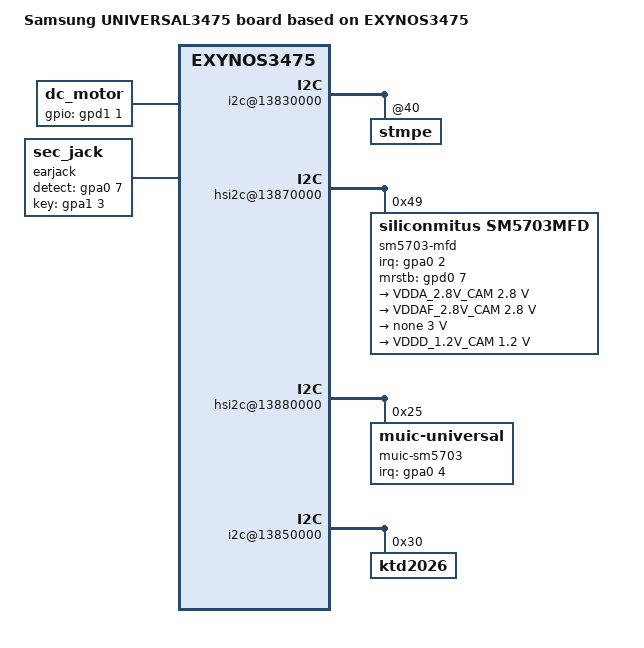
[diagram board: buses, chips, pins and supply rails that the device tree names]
/*
 * SAMSUNG EXYNOS3475 board device tree source
 *
 * Copyright (c) 2013 Samsung Electronics Co., Ltd.
 *		http://www.samsung.com
 *
 * This program is free software; you can redistribute it and/or modify
 * it under the terms of the GNU General Public License version 2 as
 * published by the Free Software Foundation.
*/

/dts-v1/;
#include "exynos3475-novel_common.dtsi"
#include "exynos3475-novellte_battery_03.dtsi"
#include "modem-ss308ap-pdata.dtsi"
#include "exynos3475-novellte_kor-tdmb_01.dtsi"
#include "exynos3475-novellte_kor_open_gpio_01.dtsi"

/ {
	model = "Samsung UNIVERSAL3475 board based on EXYNOS3475";
	model_info-chip = <3475>;
	model_info-platform = "android";
	model_info-subtype = "samsung";
	model_info-hw_rev = <3>;
	model_info-hw_rev_end = <3>;
	compatible = "samsung,UNIVERSAL3475", "samsung,exynos3475";

	i2c@13830000 {
		stmpe@40 {
			stmpe,block_type = <3>;		// STMPE1801_BLOCK_GPIO : 1 / STMPE1801_BLOCK_KEY : 2
		};
	};

	hsi2c@13870000 {
		status = "okay";
		sm5703-mfd@49 {
			compatible = "siliconmitus,sm5703mfd";
			reg = <0x49>;
			pinctrl-names = "default";
			pinctrl-0 = <&chg_en &if_pmic_irq>;
			sm5703,irq-gpio = <&gpa0 2 0>;
			sm5703,mrstb-gpio = <&gpd0 7 0>;

			sm5703_ldo1 {
				compatible = "siliconmitus,sm5703-ldo1";
				regulator-name = "VDDA_2.8V_CAM";  /* change name by yourself */
				regulator-min-microvolt = <2800000>;
				regulator-max-microvolt = <2800000>; /* max == min then apply_uV = 1 */
				/* regulator-microvolt-offset = < >; optional*/
				/* regulator-boot-on;*/ /* = "yes"; optional, exist = enabled */
				/* regulator-always-on;*/ /* = "yes"; optional, exist = enabled */
				/* regulator-ramp-delay = <100>; optional*/
			};

			sm5703_ldo2 {
				compatible = "siliconmitus,sm5703-ldo2";
				regulator-name = "VDDAF_2.8V_CAM"; /* change name by yourself */
				regulator-min-microvolt = <2800000>;
				regulator-max-microvolt = <2800000>; /* max == min then apply_uV = 1 */
				/* regulator-microvolt-offset = < >; optional*/
				/*regulator-boot-on;*/  /* = "yes"; optional, exist = enabled */
				/*regulator-always-on;*/  /* = "yes"; optional, exist = enabled */
				/* regulator-ramp-delay = <100>; optional*/
			};

			sm5703_ldo3 {
				compatible = "siliconmitus,sm5703-ldo3";
				regulator-name = "none"; /* change name by yourself */
				regulator-min-microvolt = <3000000>;
				regulator-max-microvolt = <3000000>; /* max == min then apply_uV = 1 */
				/* regulator-microvolt-offset = < >; optional*/
				/* regulator-boot-on =*/  /* "yes"; optional, exist = enabled */
				/* regulator-always-on = */  /*"yes"; optional, exist = enabled */
				/* regulator-ramp-delay = <100>; optional*/
			};

			sm5703_buck {
				compatible = "siliconmitus,sm5703-buck";
				regulator-name = "VDDD_1.2V_CAM"; /* change name by yourself */
				regulator-min-microvolt = <1200000>;
				regulator-max-microvolt = <1200000>; /* max == min then apply_uV = 1 */
				/* regulator-microvolt-offset = < >; optional*/
				/* regulator-boot-on = "yes"; optional, exist = enabled */
				/* regulator-always-on = "yes"; optional, exist = enabled */
				/* regulator-ramp-delay = <100>; optional*/
			};
		};
	};

	hsi2c@13880000 {
		status = "okay";
		muic-sm5703@25 {
			status = "okay";
			compatible = "muic-universal";
			reg = <0x25>;
			pinctrl-names = "default";
			muic-universal,chip_name = "sm,sm5703";
			muic-universal,irq-gpio = <&gpa0 4 0>;
			muic-universal,uart_addr = "139c0000.pinctrl";
			muic-universal,uart_rxd = "gpb1-0";
			muic-universal,uart_txd = "gpb1-1";
		};
	};

	i2c@13850000 {
		ktd2026@30 {
			compatible = "ktd2026";
			reg = <0x30>;

			led_conf@1 {
				led_conf-name = "led_r";
				brightness = <0>;
				max_brightness = /bits/ 8 <0x08>;
				flags = <0>;
			};
			led_conf@2 {
				led_conf-name = "led_g";
				brightness = <0>;
				max_brightness = /bits/ 8 <0x02>;
				flags = <0>;
			};
			led_conf@3 {
				led_conf-name = "led_b";
				brightness = <0>;
				max_brightness = /bits/ 8 <0x1e>;
				flags = <0>;
			};
		};
	};

	muic {
		status = "disabled";
		muic,support-list = "-OTG:GND",
					"-MHL:1K",
					"-VZW Accessory:28.7K",
					"-VZW Incompatible:34K",
					"-Smartdock:40.2K",
					"-HMT:49.9K",
					"-Audiodock:64.9K",
					"-USB LANHUB:80.07K",
					"-Charging Cable:102K",
					"-Universal Multimedia dock:121K",
					"+Jig USB Off:255K",
					"+Jig USB On:301K",
					"-Deskdock:365K",
					"+TYPE2 Charger:442K",
					"+Jig UART Off:523K",
					"+Jig UART On:619K",
					"+TA:OPEN",
					"+USB:OPEN",
					"+CDP:OPEN",
					"+Undefined Charging:XXX";
	};

	dc_motor {
		compatible = "dc_motor";
		gpios = <&gpd1 1 0x0>;
		dc_motor,max_timeout = <10000>;
	};

	earjack {
		compatible = "sec_jack";
		detect-gpio = <&gpa0 7 0>;
	/*	ear-micbias-en-gpio = <&msmgpio 85 0>; */
		key-gpio = <&gpa1 3 0>;
	/*	ext-detchip-en-gpio = <310>; */
	/*	key-dbtime = <100>; */
		det-dbtime = <50>;
	/*	send-end-active-high; */
		det-zones-list = <&det_zones 3 10000 10 0>,
			<&det_zones 1860 10000 10 2>,
			<&det_zones 4095 10000 10 1>,
			<&det_zones 9999 10000 10 1>;
		but-zones-list = <&but_zones 226 0 445>,
			<&but_zones 582 446 548>,
			<&but_zones 115 549 668>,
			<&but_zones 114 719 4095>;
		pinctrl-names = "default";
		pinctrl-0 = <&earjack_jack_det &earjack_key_det>;
		status = "okay";
	};
};
